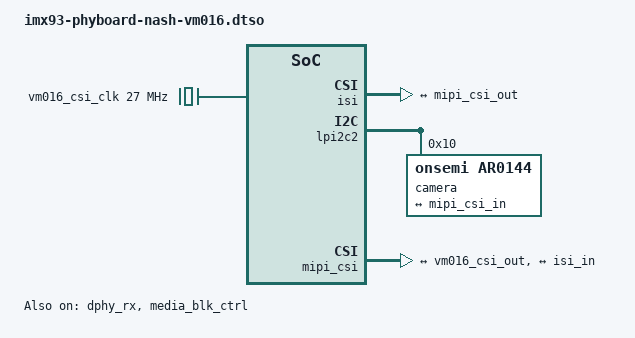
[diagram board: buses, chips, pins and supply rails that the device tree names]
// SPDX-License-Identifier: (GPL-2.0+ OR MIT)
/*
 * Copyright (C) 2025 PHYTEC Messtechnik GmbH
 * Author: Stefan Riedmuller <s.riedmueller@phytec.de>
 */

#include <dt-bindings/media/video-interfaces.h>

/dts-v1/;
/plugin/;

&{/} {
	vm016_csi_clk: vm016-csi1-ext-clk {
		#clock-cells = <0>;
		compatible = "fixed-clock";
		clock-frequency = <27000000>;
	};
};

&dphy_rx {
	status = "okay";
};

&isi {
	status = "okay";

	port {
		isi_in: endpoint {
			remote-endpoint = <&mipi_csi_out>;
		};
	};
};

&lpi2c2 {
	#address-cells = <1>;
	#size-cells = <0>;

	camera@10 {
		#address-cells = <0x1>;
		#size-cells = <0x0>;

		compatible = "onsemi,ar0144";
		reg = <0x10>;
		clocks = <&vm016_csi_clk>;
		clock-names = "ext";

		port@0 {
			reg = <0>;

			vm016_csi_out: endpoint {
				remote-endpoint = <&mipi_csi_in>;
				bus-type = <MEDIA_BUS_TYPE_CSI2_DPHY>;
				link-frequencies = /bits/ 64 <222750000>;
				data-lanes = <1 2>;
				clock-lanes = <0>;
				clock-noncontinuous = <1>;
			};
		};
	};
};

&media_blk_ctrl {
	status = "okay";
};

&mipi_csi {
	status = "okay";

	ports {
		#address-cells = <1>;
		#size-cells = <0>;

		port@0 {
			reg = <0>;

			mipi_csi_in: endpoint {
				remote-endpoint = <&vm016_csi_out>;
				data-lanes = <1 2>;
				clock-lanes = <0>;
			};
		};

		port@1 {
			reg = <1>;

			mipi_csi_out: endpoint {
				remote-endpoint = <&isi_in>;
			};
		};
	};
};
